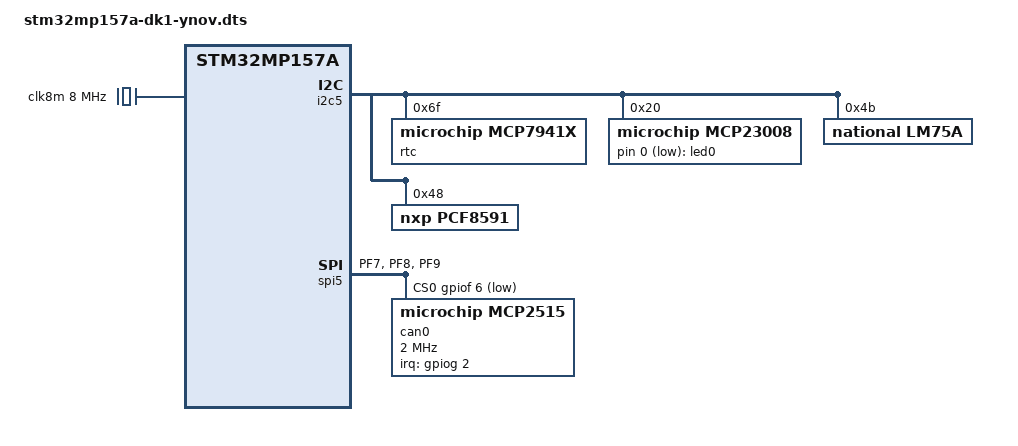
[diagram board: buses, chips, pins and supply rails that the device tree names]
// SPDX-License-Identifier: (GPL-2.0+ OR BSD-3-Clause)
/*
 * Copyright (C) Joris Offouga <offougajoris@gmail.com>.
 */

/dts-v1/;

#include "stm32mp157a-dk1.dts"

/ {
	leds {
		compatible = "gpio-leds";
		led0 {
			label = "led0";
			gpios = <&mcp23008 0 GPIO_ACTIVE_LOW>;
			linux,default-trigger = "heartbeat";
			default-state = "keep";
		};
	};
    clocks {
            /* 8MHz external crystal oscillator */
            clk8m: mcp251x_osc {
                    #clock-cells = <0>;
                    compatible = "fixed-clock";
                    clock-frequency = <8000000>;
            };
    };
};

&i2c5 {
	status = "okay";
		rtc@6f {
			compatible = "microchip,mcp7941x";
			reg = <0x6f>;
		};
		
		mcp23008: mcp23008@20 {
			compatible = "microchip,mcp23008";
			#gpio-cells = <2>;
			reg = <0x20>;
		};

		lm75a@4b {
			compatible = "national,lm75a";
			reg = <0x4b>;
		};

		pcf8591@48 {
			compatible = "nxp,pcf8591";
			reg = <0x48>;
		};
};

&spi5 {
    pinctrl-names = "default", "sleep";
    pinctrl-0 = <&spi5_pins_mx>;
    pinctrl-1 = <&spi5_sleep_pins_mx>;
    status = "okay";
    cs-gpios = <&gpiof 6 GPIO_ACTIVE_LOW>;
    can0: can@0 {
        compatible = "microchip,mcp2515";
        reg = <0>;
        clocks = <&clk8m>;
        spi-max-frequency = <2000000>;
		interrupt-parent=<&gpiog>;
		interrupts = <2 IRQ_TYPE_EDGE_FALLING>;
        status = "okay";
    };
};

&pinctrl {
    spi5_pins_mx: spi5_mx-0 {
        pins {
            pinmux = <STM32_PINMUX('F', 7, AF5)>, /* SPI5_SCK */
                     <STM32_PINMUX('F', 8, AF5)>, /* SPI5_MISO */
                     <STM32_PINMUX('F', 9, AF5)>; /* SPI5_MOSI */
            bias-disable;
            drive-push-pull;
            slew-rate = <1>;
        };
    };
    spi5_sleep_pins_mx: spi5_sleep_mx-0 {
        pins {
            pinmux = <STM32_PINMUX('F', 7, ANALOG)>, /* SPI5_SCK */
                     <STM32_PINMUX('F', 8, ANALOG)>, /* SPI5_MISO */
                     <STM32_PINMUX('F', 9, ANALOG)>; /* SPI5_MOSI */
        };
    };
};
